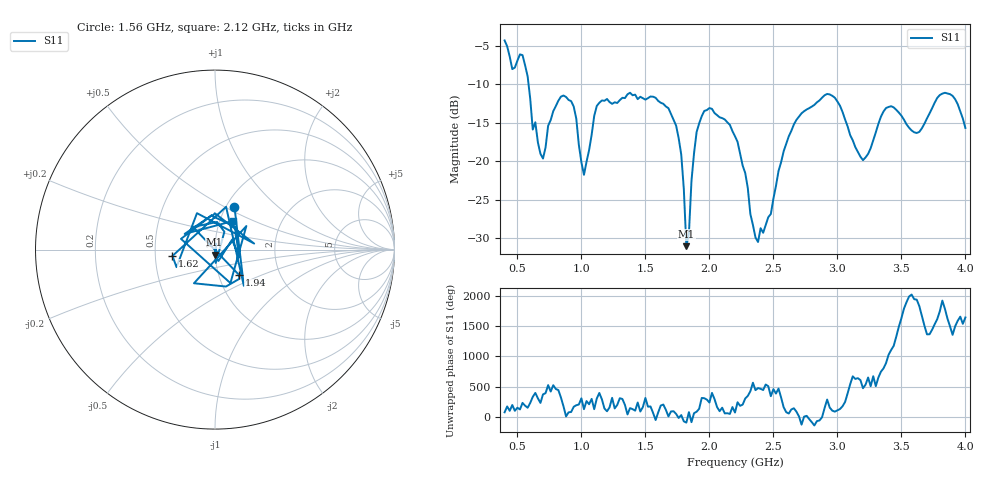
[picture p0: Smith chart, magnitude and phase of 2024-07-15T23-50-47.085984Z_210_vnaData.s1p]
!Created with skrf (http://scikit-rf.org).
# Hz S RI R 50.0
!freq ReS11 ImS11
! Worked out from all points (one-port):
!   181 points, 400 MHz to 4 GHz, reference 50 ohm
!   lowest |S11| = -31.1 dB at 1.82 GHz (marker M1), VSWR 1.06, Z = 49.7 - j2.78 ohm
!   |S11| at or under -10 dB: 587 MHz to end of sweep
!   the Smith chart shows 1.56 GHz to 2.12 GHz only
!   S11 on the Smith chart (normalised r, x): 1.56 GHz: 1.09, +0.56; 1.62 GHz: 0.62, -0.05; 1.94 GHz: 1.25, -0.37; 2.12 GHz: 1.15, +0.38
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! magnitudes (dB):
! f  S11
! 400 MHz  -4.3
! 460 MHz  -8.0
! 540 MHz  -6.2
! 620 MHz  -15.9
! 700 MHz  -19.7
! 860 MHz  -11.5
! 940 MHz  -12.9
! 1.02 GHz  -21.8
! 1.12 GHz  -12.8
! 1.3 GHz  -12.1
! 1.56 GHz  -11.6
! 1.62 GHz  -12.4
! 1.76 GHz  -17.0
! 1.8 GHz  -23.6
! 1.82 GHz  -31.1
! 1.88 GHz  -19.0
! 1.94 GHz  -14.2
! 2.12 GHz  -14.6
! 2.2 GHz  -16.8
! 2.38 GHz  -30.5
! 2.66 GHz  -15.2
! 2.94 GHz  -11.3
! 3.1 GHz  -16.6
! 3.2 GHz  -19.9
! 3.38 GHz  -13.1
! 3.56 GHz  -15.7
! 3.84 GHz  -11.1
! 4 GHz  -15.7
